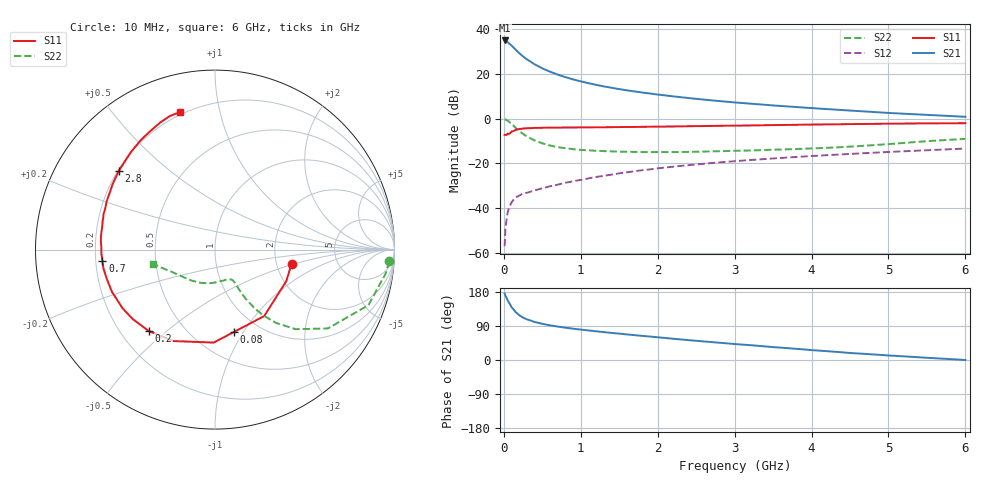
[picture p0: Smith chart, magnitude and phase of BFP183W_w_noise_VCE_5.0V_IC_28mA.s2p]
! (c) 2017  Infineon Technologies AG, Munich
! Infineon Technologies  Discrete & RF Semiconductors
! BFP183W
! VCE =  5.0 V,  IC =  28 mA
! Common Emitter S-Parameters:  Jan 2017
# GHz  S  MA  R  50
!  f  S11  S21  S12  S22
! GHz  MAG  ANG  MAG  ANG  MAG  ANG  MAG  ANG
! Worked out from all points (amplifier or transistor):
!   77 points, 10 MHz to 6 GHz, reference 50 ohm
!   highest |S21| = 35.0 dB at 10 MHz (marker M1)
!   |S21| within 3 dB of that: start of sweep to 121.4 MHz
!   unconditionally stable (mu >= 1): 973.5 MHz to 3.455 GHz
!   at 130 MHz: K = 0.29, MSG = 33.9 dB, |S12| = -36.1 dB
!   at 2.2 GHz: K = 1.06, MAG = 14.3 dB, |S12| = -21.5 dB
!   at 6 GHz: K = 0.87, MSG = 7.1 dB, |S12| = -13.4 dB
!   lowest NFmin = 1.35 dB at 450 MHz
!   S11 on the Smith chart (normalised r, x): 10 MHz: 2.42, -0.48; 80 MHz: 0.77, -0.91; 200 MHz: 0.32, -0.44; 700 MHz: 0.23, -0.05; 2.8 GHz: 0.20, +0.34; 6 GHz: 0.19, +0.76
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0.01  0.4338 -10.7  56.24 175.7  0.0014 83.9  0.9739 -3.9
0.02  0.4343 -23.9  55.35 170.4  0.0032 95.2  0.9595 -8.1
0.05  0.4608 -53.5  51.81 157.3  0.008 70.9  0.9094 -19.9
0.08  0.4709 -77.1  46.22 147.3  0.0112 63.8  0.8172 -28.3
0.1  0.5181 -90.8  43.42 139.4  0.0134 61.0  0.7673 -34.9
0.15  0.5599 -114.5  35.48 127.1  0.0171 54.3  0.6316 -44.6
0.2  0.5847 -129.1  29.27 118.3  0.019 49.9  0.5302 -50.3
0.25  0.5999 -139.9  24.68 111.8  0.0212 47.7  0.4545 -53.7
0.3  0.61 -147.4  21.17 107.2  0.0219 47.2  0.3984 -55.9
0.4  0.6206 -157.8  16.45 100.2  0.0248 49.4  0.3247 -58.0
0.5  0.6245 -164.8  13.34 95.4  0.0276 50.5  0.2804 -58.7
0.6  0.6302 -170.2  11.25 91.5  0.0307 52.3  0.2509 -59.0
0.7  0.6307 -174.4  9.678 88.3  0.0333 55.1  0.2303 -58.8
0.9  0.6333 178.8  7.562 82.6  0.0397 57.2  0.2078 -59.4
1.1  0.6398 173.2  6.227 78.0  0.046 59.5  0.1957 -60.4
1.5  0.6475 164.2  4.585 69.6  0.0597 61.2  0.1828 -64.9
2.1  0.6651 152.5  3.309 58.1  0.0806 60.7  0.1784 -77.0
2.8  0.692 140.9  2.477 45.6  0.105 58.1  0.1869 -95.3
3.1  0.7006 136.4  2.239 40.7  0.115 56.5  0.192 -103.4
4.1  0.7404 122.7  1.681 24.7  0.149 50.9  0.2189 -129.7
5.1  0.774 112.2  1.316 10.8  0.1828 44.6  0.2775 -154.3
6  0.7909 104.2  1.101 -0.1  0.2142 38.4  0.3529 -167.0
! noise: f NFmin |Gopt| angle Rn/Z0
0.45  1.35  0.26  179  0.09
0.9  1.38  0.29  -179  0.1
1.9  1.87  0.44  -157  0.1
2.4  2.12  0.49  -152  0.14
